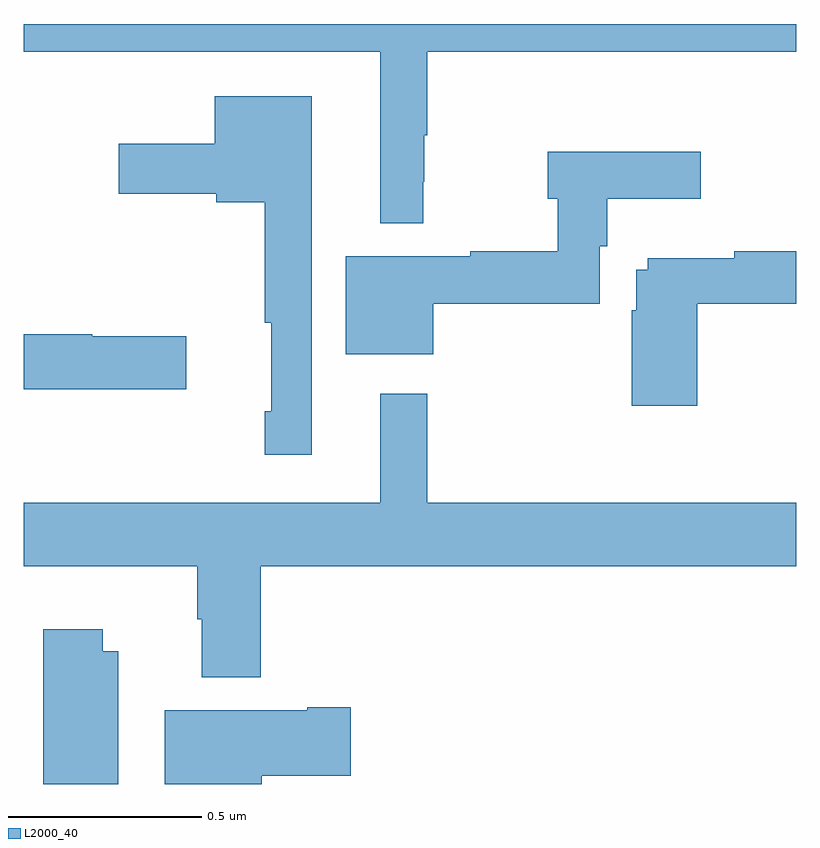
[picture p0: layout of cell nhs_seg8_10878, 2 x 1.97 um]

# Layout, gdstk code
import gdstk
lib = gdstk.Library(unit=1e-6, precision=1e-09)
def P(c, l, *ps):  # polygons
    for p in ps: c.add(gdstk.Polygon(p, *l))
L2000_40 = (2000, 40)

nhs_seg8_10878 = lib.new_cell('nhs_seg8_10878')
P(nhs_seg8_10878, L2000_40, [(256.034,1121.491),(256.037,1121.491),(256.037,1121.612),(256.045,1121.612),(256.045,1121.828),(257,1121.828),(257,1121.9),(255,1121.9),(255,1121.828),(255.923,1121.828),(255.923,1121.384),(256.034,1121.384)],
  [(255.745,1121.713),(255.494,1121.713),(255.494,1121.59),(255.246,1121.59),(255.246,1121.461),(255.498,1121.461),(255.498,1121.438),(255.624,1121.438),(255.624,1121.126),(255.641,1121.126),(255.641,1120.897),(255.624,1120.897),(255.624,1120.785),(255.745,1120.785)],
  [(256.06,1121.176),(256.491,1121.176),(256.491,1121.325),(256.511,1121.325),(256.511,1121.447),(256.753,1121.447),(256.753,1121.569),(256.357,1121.569),(256.357,1121.447),(256.383,1121.447),(256.383,1121.312),(256.156,1121.312),(256.156,1121.299),(255.833,1121.299),(255.833,1121.045),(256.06,1121.045)],
  [(256.744,1121.176),(257,1121.176),(257,1121.312),(256.84,1121.312),(256.84,1121.293),(256.616,1121.293),(256.616,1121.263),(256.586,1121.263),(256.586,1121.159),(256.574,1121.159),(256.574,1120.911),(256.744,1120.911)],
  [(255.421,1121.091),(255.177,1121.091),(255.177,1121.096),(255,1121.096),(255,1120.954),(255.421,1120.954)],
  [(255.614,1120.496),(257,1120.496),(257,1120.66),(256.045,1120.66),(256.045,1120.942),(255.923,1120.942),(255.923,1120.66),(255,1120.66),(255,1120.496),(255.449,1120.496),(255.449,1120.358),(255.461,1120.358),(255.461,1120.208),(255.614,1120.208)],
  [(255.244,1120.276),(255.205,1120.276),(255.205,1120.333),(255.05,1120.333),(255.05,1119.932),(255.244,1119.932)],
  [(255.616,1119.953),(255.847,1119.953),(255.847,1120.131),(255.734,1120.131),(255.734,1120.123),(255.365,1120.123),(255.365,1119.932),(255.616,1119.932)])

lib.write_gds('nhs_seg8_10878.gds')
